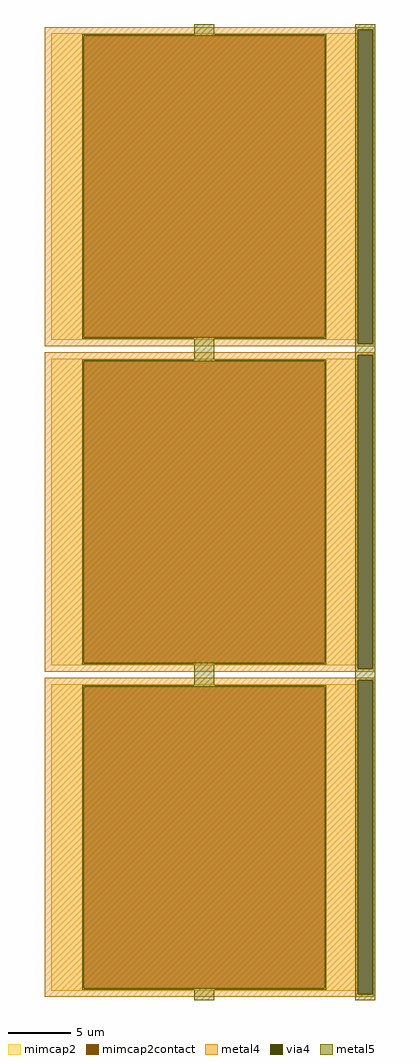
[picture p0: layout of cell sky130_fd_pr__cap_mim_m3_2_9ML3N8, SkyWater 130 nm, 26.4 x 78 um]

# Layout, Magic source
magic
tech sky130A
magscale 1 2
<< metal4 >>
rect -2629 7709 2629 7750
rect -2629 2691 2373 7709
rect 2609 2691 2629 7709
rect -2629 2650 2629 2691
rect -2629 2509 2629 2550
rect -2629 -2509 2373 2509
rect 2609 -2509 2629 2509
rect -2629 -2550 2629 -2509
rect -2629 -2691 2629 -2650
rect -2629 -7709 2373 -2691
rect 2609 -7709 2629 -2691
rect -2629 -7750 2629 -7709
<< via4 >>
rect 2373 2691 2609 7709
rect 2373 -2509 2609 2509
rect 2373 -7709 2609 -2691
<< mimcap2 >>
rect -2529 7610 2371 7650
rect -2529 2790 -2007 7610
rect 1849 2790 2371 7610
rect -2529 2750 2371 2790
rect -2529 2410 2371 2450
rect -2529 -2410 -2007 2410
rect 1849 -2410 2371 2410
rect -2529 -2450 2371 -2410
rect -2529 -2790 2371 -2750
rect -2529 -7610 -2007 -2790
rect 1849 -7610 2371 -2790
rect -2529 -7650 2371 -7610
<< mimcap2contact >>
rect -2007 2790 1849 7610
rect -2007 -2410 1849 2410
rect -2007 -7610 1849 -2790
<< metal5 >>
rect -239 7634 81 7800
rect 2331 7709 2651 7800
rect -2031 7610 1873 7634
rect -2031 2790 -2007 7610
rect 1849 2790 1873 7610
rect -2031 2766 1873 2790
rect -239 2434 81 2766
rect 2331 2691 2373 7709
rect 2609 2691 2651 7709
rect 2331 2509 2651 2691
rect -2031 2410 1873 2434
rect -2031 -2410 -2007 2410
rect 1849 -2410 1873 2410
rect -2031 -2434 1873 -2410
rect -239 -2766 81 -2434
rect 2331 -2509 2373 2509
rect 2609 -2509 2651 2509
rect 2331 -2691 2651 -2509
rect -2031 -2790 1873 -2766
rect -2031 -7610 -2007 -2790
rect 1849 -7610 1873 -2790
rect -2031 -7634 1873 -7610
rect -239 -7800 81 -7634
rect 2331 -7709 2373 -2691
rect 2609 -7709 2651 -2691
rect 2331 -7800 2651 -7709
<< properties >>
string FIXED_BBOX -2629 2650 2471 7750
string gencell sky130_fd_pr__cap_mim_m3_2
string library sky130
string parameters w 24.5 l 24.5 val 1.219k carea 2.00 cperi 0.19 nx 1 ny 3 dummy 0 square 0 lmin 2.00 wmin 2.00 lmax 30.0 wmax 30.0 dc 0 bconnect 1 tconnect 1 ccov 80
<< end >>
